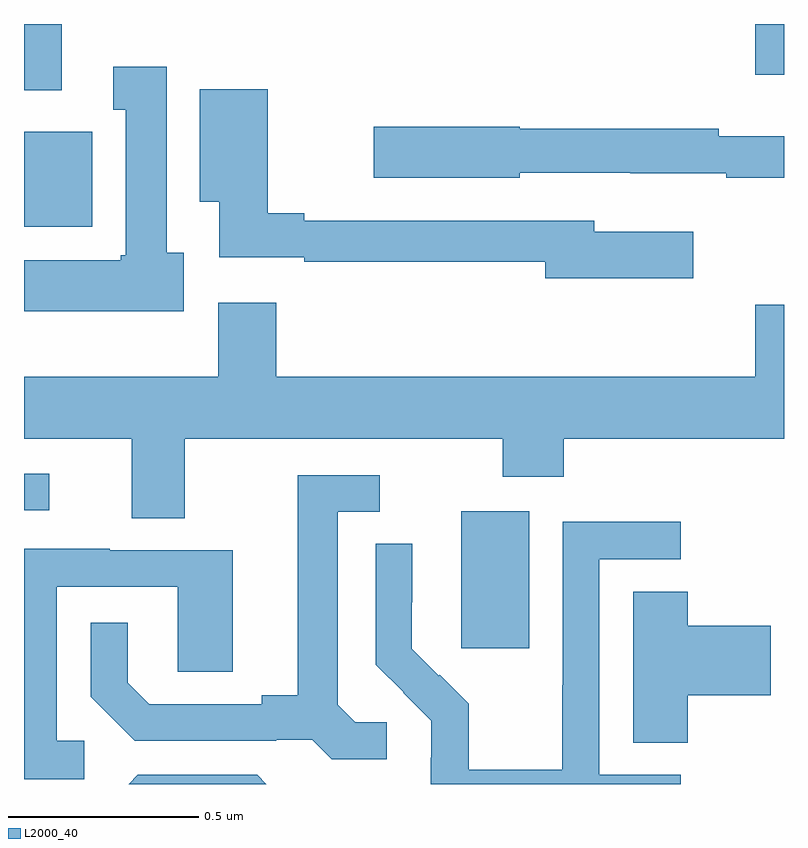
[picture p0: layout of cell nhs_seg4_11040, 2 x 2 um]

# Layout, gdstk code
import gdstk
lib = gdstk.Library(unit=1e-6, precision=1e-09)
def R(c, l, rs):  # rectangles x0, y0, x1, y1
    for r in rs: c.add(gdstk.rectangle(r[:2], r[2:], *l))
def P(c, l, *ps):  # polygons
    for p in ps: c.add(gdstk.Polygon(p, *l))
L2000_40 = (2000, 40)

nhs_seg4_11040 = lib.new_cell('nhs_seg4_11040')
R(nhs_seg4_11040, L2000_40, [(248.15,808.257,248.329,808.618), (247,808.62,247.066,808.716), (247,809.366,247.179,809.617), (247,809.726,247.099,809.9), (248.924,809.766,249,809.9)])
P(nhs_seg4_11040, L2000_40, [(247.42,809.298),(247.375,809.298),(247.375,809.788),(247.235,809.788),(247.235,809.675),(247.268,809.675),(247.268,809.292),(247.255,809.292),(247.255,809.278),(247,809.278),(247,809.144),(247.42,809.144)],
  [(248.761,809.353),(248.5,809.353),(248.5,809.382),(247.738,809.382),(247.738,809.402),(247.642,809.402),(247.642,809.728),(247.463,809.728),(247.463,809.432),(247.514,809.432),(247.514,809.286),(247.738,809.286),(247.738,809.274),(248.372,809.274),(248.372,809.231),(248.761,809.231)],
  [(248.304,809.508),(248.596,809.508),(248.596,809.507),(248.848,809.507),(248.848,809.496),(249,809.496),(249,809.605),(248.828,809.605),(248.828,809.624),(248.304,809.624),(248.304,809.63),(247.92,809.63),(247.92,809.495),(248.304,809.495)],
  [(247.423,808.808),(248.26,808.808),(248.26,808.709),(248.42,808.709),(248.42,808.808),(249,808.808),(249,809.161),(248.924,809.161),(248.924,808.972),(247.664,808.972),(247.664,809.167),(247.511,809.167),(247.511,808.972),(247,808.972),(247,808.808),(247.283,808.808),(247.283,808.6),(247.423,808.6)],
  [(247.954,808.062),(247.872,808.062),(247.825,808.109),(247.825,808.617),(247.936,808.617),(247.936,808.713),(247.721,808.713),(247.721,808.133),(247.625,808.133),(247.625,808.11),(247.33,808.11),(247.273,808.167),(247.273,808.324),(247.176,808.324),(247.176,808.13),(247.292,808.014),(247.664,808.014),(247.664,808.017),(247.758,808.017),(247.81,807.965),(247.954,807.965)],
  [(248.728,807.924),(248.514,807.924),(248.514,808.491),(248.728,808.491),(248.728,808.59),(248.418,808.59),(248.418,808.16),(248.416,808.16),(248.416,807.937),(248.171,807.937),(248.171,808.111),(248.094,808.188),(248.091,808.185),(248.021,808.256),(248.021,808.378),(248.022,808.378),(248.022,808.532),(247.926,808.532),(247.926,808.214),(247.999,808.141),(247.998,808.14),(248.072,808.066),(248.072,807.969),(248.07,807.969),(248.07,807.9),(248.728,807.9)],
  [(247.159,808.014),(247.086,808.014),(247.086,808.419),(247.404,808.419),(247.404,808.195),(247.549,808.195),(247.549,808.515),(247.225,808.515),(247.225,808.519),(247,808.519),(247,807.913),(247.159,807.913)],
  [(248.747,808.133),(248.965,808.133),(248.965,808.316),(248.747,808.316),(248.747,808.406),(248.603,808.406),(248.603,808.009),(248.747,808.009)],
  [(247.614,807.924),(247.299,807.924),(247.275,807.9),(247.638,807.9)])

lib.write_gds('nhs_seg4_11040.gds')
